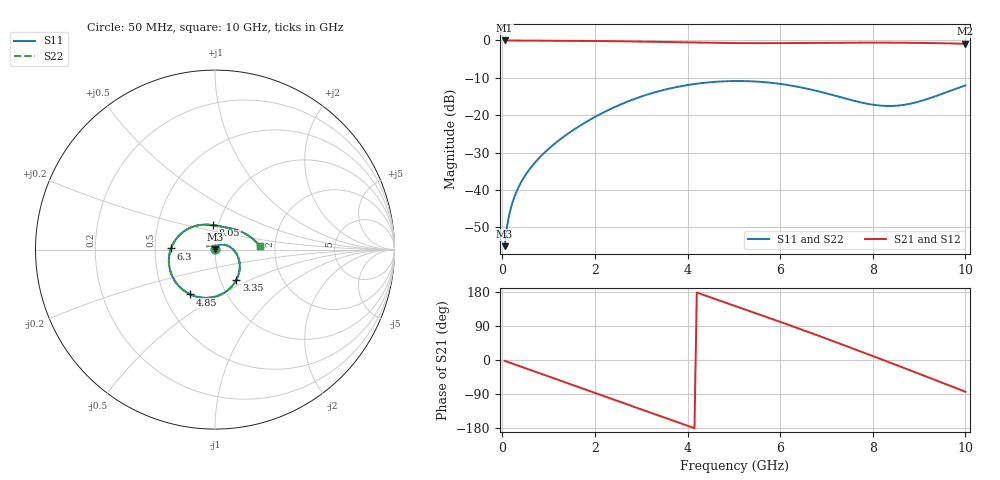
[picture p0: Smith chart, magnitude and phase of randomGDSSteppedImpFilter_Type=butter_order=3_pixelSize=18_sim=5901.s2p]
! freq	dB(S11)	phase(S11)	dB(S12)	phase(S12)
!  dB(S21)	phase(S21)	dB(S22)	phase(S22)
!S-par simulation data
#  GHz  S  DB  R 50
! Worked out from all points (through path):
!   200 points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, 50 MHz to 10 GHz, reference 50 ohm
!   highest |S21| = 0.00 dB at 50 MHz (marker M1); lowest = -0.9 dB at 10 GHz (marker M2)
!   group delay of S21, straight-line fit = 122 ps
!   lowest |S11| = -55.0 dB at 50 MHz (marker M3), VSWR 1.00, Z = 50 + j0.171 ohm
!   |S11| at or under -10 dB: start of sweep to end of sweep
!   |S22| runs from -55.0 to -10.8 dB; largest |S21 - S12| = 0
!   S11 on the Smith chart (normalised r, x): 50 MHz: 1.00, +0.00; 3.35 GHz: 1.19, -0.42; 4.85 GHz: 0.68, -0.37; 6.3 GHz: 0.61, +0.01; 8.05 GHz: 0.94, +0.26; 10 GHz: 1.67, +0.07
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0.05  -55.03 74.3  -0.00 -2.2  -0.00 -2.2  -55.03 74.3
0.1  -49.91 76.7  -0.01 -4.4  -0.01 -4.4  -49.91 76.7
0.2  -44.19 76.9  -0.01 -8.7  -0.01 -8.7  -44.19 76.9
0.5  -36.00 67.5  -0.03 -21.7  -0.03 -21.7  -36.00 67.5
1.15  -27.43 40.7  -0.07 -49.8  -0.07 -49.8  -27.43 40.7
1.75  -22.25 14.9  -0.11 -75.9  -0.11 -75.9  -22.25 14.9
2.5  -17.42 -17.8  -0.21 -108.5  -0.21 -108.5  -17.42 -17.8
3.35  -13.68 -54.9  -0.38 -145.5  -0.38 -145.5  -13.68 -54.9
3.4  -13.52 -57.1  -0.39 -147.6  -0.39 -147.6  -13.52 -57.0
4.1  -11.74 -87.1  -0.55 -177.8  -0.55 -177.8  -11.74 -87.1
4.85  -10.90 -118.9  -0.69 150.2  -0.69 150.2  -10.90 -118.9
5.05  -10.85 -127.4  -0.71 141.6  -0.71 141.6  -10.85 -127.4
5.7  -11.20 -155.2  -0.73 113.8  -0.73 113.8  -11.20 -155.2
6.3  -12.21 178.5  -0.69 87.6  -0.69 87.6  -12.21 178.5
6.7  -13.23 160.4  -0.65 69.8  -0.65 69.8  -13.23 160.4
7.45  -15.66 124.9  -0.59 35.8  -0.59 35.8  -15.66 124.8
8.05  -17.27 95.0  -0.58 8.1  -0.58 8.1  -17.27 94.8
8.35  -17.54 80.0  -0.59 -5.8  -0.59 -5.8  -17.53 79.8
8.8  -16.95 58.3  -0.63 -26.9  -0.63 -26.9  -16.95 58.1
9.25  -15.37 37.6  -0.69 -48.2  -0.69 -48.2  -15.37 37.4
9.65  -13.58 19.8  -0.79 -67.1  -0.79 -67.1  -13.58 19.6
10  -12.01 4.2  -0.90 -83.8  -0.90 -83.8  -12.01 4.0
